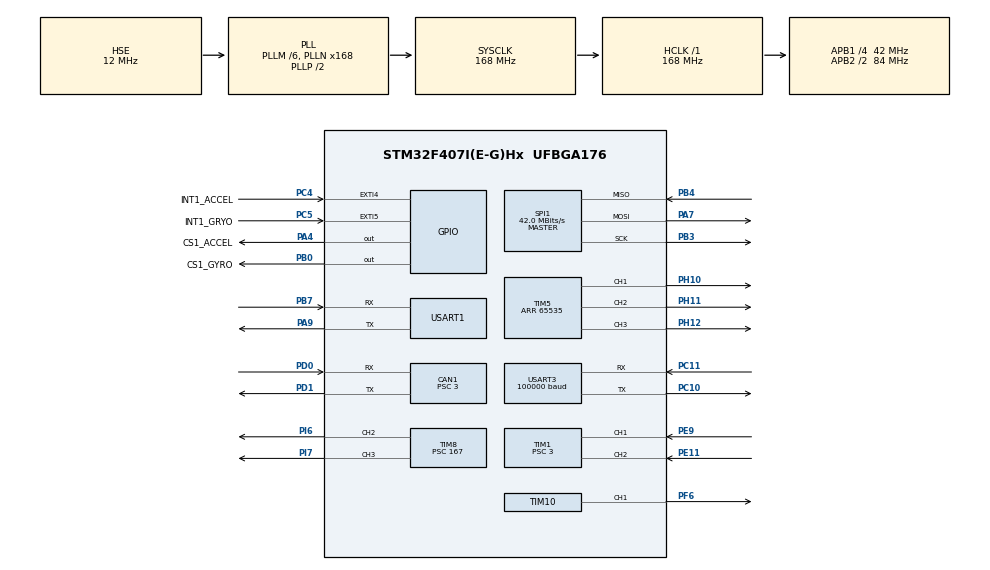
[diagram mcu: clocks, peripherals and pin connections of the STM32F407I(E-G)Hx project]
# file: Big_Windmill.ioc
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CAN1.BS1=CAN_BS1_10TQ
CAN1.BS2=CAN_BS2_3TQ
CAN1.CalculateBaudRate=1000000
CAN1.CalculateTimeBit=1000
CAN1.CalculateTimeQuantum=71.42857142857143
CAN1.Prescaler=3
Dma.Request0=USART1_TX
Dma.Request1=USART3_RX
Dma.Request2=SPI1_RX
Dma.Request3=SPI1_TX
Dma.SPI1_RX.2.Direction=DMA_PERIPH_TO_MEMORY
Dma.SPI1_RX.2.FIFOMode=DMA_FIFOMODE_DISABLE
Dma.SPI1_RX.2.Instance=DMA2_Stream0
Dma.SPI1_RX.2.MemDataAlignment=DMA_MDATAALIGN_BYTE
Dma.SPI1_RX.2.MemInc=DMA_MINC_ENABLE
Dma.SPI1_RX.2.Mode=DMA_NORMAL
Dma.SPI1_RX.2.PeriphDataAlignment=DMA_PDATAALIGN_BYTE
Dma.SPI1_RX.2.PeriphInc=DMA_PINC_DISABLE
Dma.SPI1_RX.2.Priority=DMA_PRIORITY_VERY_HIGH
Dma.SPI1_TX.3.Direction=DMA_MEMORY_TO_PERIPH
Dma.SPI1_TX.3.FIFOMode=DMA_FIFOMODE_DISABLE
Dma.SPI1_TX.3.Instance=DMA2_Stream3
Dma.SPI1_TX.3.MemDataAlignment=DMA_MDATAALIGN_BYTE
Dma.SPI1_TX.3.MemInc=DMA_MINC_ENABLE
Dma.SPI1_TX.3.Mode=DMA_NORMAL
Dma.SPI1_TX.3.PeriphDataAlignment=DMA_PDATAALIGN_BYTE
Dma.SPI1_TX.3.PeriphInc=DMA_PINC_DISABLE
Dma.SPI1_TX.3.Priority=DMA_PRIORITY_HIGH
Dma.USART1_TX.0.Direction=DMA_MEMORY_TO_PERIPH
Dma.USART1_TX.0.FIFOMode=DMA_FIFOMODE_DISABLE
Dma.USART1_TX.0.Instance=DMA2_Stream7
Dma.USART1_TX.0.MemDataAlignment=DMA_MDATAALIGN_BYTE
Dma.USART1_TX.0.MemInc=DMA_MINC_ENABLE
Dma.USART1_TX.0.Mode=DMA_NORMAL
Dma.USART1_TX.0.PeriphDataAlignment=DMA_PDATAALIGN_BYTE
Dma.USART1_TX.0.PeriphInc=DMA_PINC_DISABLE
Dma.USART1_TX.0.Priority=DMA_PRIORITY_VERY_HIGH
Dma.USART3_RX.1.Direction=DMA_PERIPH_TO_MEMORY
Dma.USART3_RX.1.FIFOMode=DMA_FIFOMODE_DISABLE
Dma.USART3_RX.1.Instance=DMA1_Stream1
Dma.USART3_RX.1.MemDataAlignment=DMA_MDATAALIGN_BYTE
Dma.USART3_RX.1.MemInc=DMA_MINC_ENABLE
Dma.USART3_RX.1.Mode=DMA_CIRCULAR
Dma.USART3_RX.1.PeriphDataAlignment=DMA_PDATAALIGN_BYTE
Dma.USART3_RX.1.PeriphInc=DMA_PINC_DISABLE
Dma.USART3_RX.1.Priority=DMA_PRIORITY_VERY_HIGH
Mcu.Family=STM32F4
Mcu.Name=STM32F407I(E-G)Hx
Mcu.Package=UFBGA176
NVIC.CAN1_RX0_IRQn=true\:0\:0\:false\:false\:true\:true\:true\:true
NVIC.DMA1_Stream1_IRQn=true\:0\:0\:false\:false\:true\:false\:true\:true
NVIC.DMA2_Stream0_IRQn=true\:0\:0\:false\:false\:true\:false\:true\:true
NVIC.DMA2_Stream3_IRQn=true\:0\:0\:false\:false\:true\:false\:true\:true
NVIC.DMA2_Stream7_IRQn=true\:0\:0\:false\:false\:true\:false\:true\:true
NVIC.PriorityGroup=NVIC_PRIORITYGROUP_4
NVIC.TIM4_IRQn=true\:0\:0\:false\:false\:true\:true\:true\:true
PA13.Mode=Serial_Wire
PA13.Signal=SYS_JTMS-SWDIO
PA14.Mode=Serial_Wire
PA14.Signal=SYS_JTCK-SWCLK
PA4.GPIO_Label=CS1_ACCEL
PA4.GPIO_PuPd=GPIO_PULLUP
PA4.GPIO_Speed=GPIO_SPEED_FREQ_HIGH
PA4.PinState=GPIO_PIN_SET
PA4.Signal=GPIO_Output
PA7.Mode=Full_Duplex_Master
PA7.Signal=SPI1_MOSI
PA9.Mode=Asynchronous
PA9.Signal=USART1_TX
PB0.GPIO_Label=CS1_GYRO
PB0.GPIO_Speed=GPIO_SPEED_FREQ_HIGH
PB0.PinState=GPIO_PIN_SET
PB0.Signal=GPIO_Output
PB3.Mode=Full_Duplex_Master
PB3.Signal=SPI1_SCK
PB4.Mode=Full_Duplex_Master
PB4.Signal=SPI1_MISO
PB7.Mode=Asynchronous
PB7.Signal=USART1_RX
PC10.Mode=Asynchronous
PC10.Signal=USART3_TX
PC11.Mode=Asynchronous
PC11.Signal=USART3_RX
PC4.GPIO_Label=INT1_ACCEL
PC4.GPIO_PuPd=GPIO_PULLUP
PC4.Signal=GPXTI4
PC5.GPIO_Label=INT1_GRYO
PC5.GPIO_PuPd=GPIO_PULLUP
PC5.Signal=GPXTI5
PD0.Mode=CAN_Activate
PD0.Signal=CAN1_RX
PD1.Mode=CAN_Activate
PD1.Signal=CAN1_TX
PE11.Signal=S_TIM1_CH2
PE9.Signal=S_TIM1_CH1
PF6.GPIO_PuPd=GPIO_PULLUP
PF6.GPIO_Speed=GPIO_SPEED_FREQ_HIGH
PF6.Signal=S_TIM10_CH1
PH0-OSC_IN.Mode=HSE-External-Oscillator
PH0-OSC_IN.Signal=RCC_OSC_IN
PH1-OSC_OUT.Mode=HSE-External-Oscillator
PH1-OSC_OUT.Signal=RCC_OSC_OUT
PH10.Signal=S_TIM5_CH1
PH11.Signal=S_TIM5_CH2
PH12.Signal=S_TIM5_CH3
PI6.Signal=S_TIM8_CH2
PI7.Signal=S_TIM8_CH3
ProjectManager.HeapSize=0x200
ProjectManager.StackSize=0x400
ProjectManager.TargetToolchain=Makefile
RCC.48MHZClocksFreq_Value=84000000
RCC.AHBFreq_Value=168000000
RCC.APB1CLKDivider=RCC_HCLK_DIV4
RCC.APB1Freq_Value=42000000
RCC.APB1TimFreq_Value=84000000
RCC.APB2CLKDivider=RCC_HCLK_DIV2
RCC.APB2Freq_Value=84000000
RCC.APB2TimFreq_Value=168000000
RCC.CortexFreq_Value=168000000
RCC.HCLKFreq_Value=168000000
RCC.HSE_VALUE=12000000
RCC.HSI_VALUE=16000000
RCC.LSE_VALUE=32768
RCC.PLLM=6
RCC.PLLN=168
RCC.PLLSourceVirtual=RCC_PLLSOURCE_HSE
RCC.SYSCLKFreq_VALUE=168000000
RCC.SYSCLKSource=RCC_SYSCLKSOURCE_PLLCLK
RCC.VCOOutputFreq_Value=336000000
SH.S_TIM10_CH1.0=TIM10_CH1,PWM Generation1 CH1
SH.S_TIM1_CH1.0=TIM1_CH1,Encoder_Interface
SH.S_TIM1_CH2.0=TIM1_CH2,Encoder_Interface
SH.S_TIM5_CH1.0=TIM5_CH1,PWM Generation1 CH1
SH.S_TIM5_CH2.0=TIM5_CH2,PWM Generation2 CH2
SH.S_TIM5_CH3.0=TIM5_CH3,PWM Generation3 CH3
SH.S_TIM8_CH2.0=TIM8_CH2,PWM Generation2 CH2
SH.S_TIM8_CH3.0=TIM8_CH3,PWM Generation3 CH3
SPI1.CalculateBaudRate=42.0 MBits/s
SPI1.Direction=SPI_DIRECTION_2LINES
SPI1.Mode=SPI_MODE_MASTER
SPI1.VirtualType=VM_MASTER
TIM1.AutoReloadPreload=TIM_AUTORELOAD_PRELOAD_DISABLE
TIM1.EncoderMode=TIM_ENCODERMODE_TI12
TIM1.IC1Filter=15
TIM1.IC2Filter=15
TIM1.Prescaler=3
TIM10.Channel=TIM_CHANNEL_1
TIM4.Period=50-1
TIM4.Prescaler=16800-1
TIM5.Channel-PWM\ Generation1\ CH1=TIM_CHANNEL_1
TIM5.Channel-PWM\ Generation2\ CH2=TIM_CHANNEL_2
TIM5.Channel-PWM\ Generation3\ CH3=TIM_CHANNEL_3
TIM5.Period=65535
TIM8.Channel-PWM\ Generation2\ CH2=TIM_CHANNEL_2
TIM8.Channel-PWM\ Generation3\ CH3=TIM_CHANNEL_3
TIM8.Period=19999
TIM8.Prescaler=167
TIM8.Pulse-PWM\ Generation2\ CH2=0
TIM8.Pulse-PWM\ Generation3\ CH3=0
USART1.VirtualMode=VM_ASYNC
USART3.BaudRate=100000
USART3.Parity=PARITY_EVEN
USART3.VirtualMode=VM_ASYNC
VP_TIM10_VS_ClockSourceINT.Mode=Enable_Timer
VP_TIM4_VS_ClockSourceINT.Mode=Internal
VP_TIM8_VS_ClockSourceINT.Mode=Internal
board=custom

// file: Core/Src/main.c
/* USER CODE BEGIN Header */
/**
  ******************************************************************************
  * @file           : main.c
  * @brief          : Main program body
  ******************************************************************************
  * @attention
  *
  * Copyright (c) 2023 STMicroelectronics.
  * All rights reserved.
  *
  * This software is licensed under terms that can be found in the LICENSE file
  * in the root directory of this software component.
  * If no LICENSE file comes with this software, it is provided AS-IS.
  *
  ******************************************************************************
  */
/* USER CODE END Header */
#include "main.h"
#include "can.h"
#include "dma.h"
#include "spi.h"
#include "tim.h"
#include "usart.h"
#include "gpio.h"

/* USER CODE BEGIN Includes */
#include "CAN_receive.h"
#include "pid.h"
#include <stdlib.h>
#include <math.h>
#include <stdbool.h>
#include "BMI088driver.h"
/* USER CODE END Includes */

/* USER CODE BEGIN PV */
RC_ctrl_t RC_ctrl;
uint8_t sbus_rx_buffer[18];
pid_type_def motor_pid;
const fp32 PID[3]={1.2,0,0.00001};
chassis_motor_t motor_chassis[4];

int mode_forward = 0;
int i = 0;

static int t = 0;
bool flag = true;
float sin1 = 0.0;
float motor_current = 0;

uint32_t motorCnt = 0;
bool motorDir = 0;
long motorSpeed = 0;
long pwmSpeed = 0;

	uint32_t tim8_ch2_set = 1499;
	uint32_t tim8_ch3_set = 1499;
	int tim8_ch3_out = 0;

fp32 gyro[3];
fp32 accel[3];
fp32 temp;

/* USER CODE END PV */

void SystemClock_Config(void);
/* USER CODE BEGIN PFP */
void can_filter_init(void);
/* USER CODE END PFP */

/* USER CODE BEGIN 0 */

typedef struct{
    uint32_t TX_ID;
    uint32_t RX_ID;
} TYPEDEF_CAN_IDs;

CAN_RxHeaderTypeDef CanRx;//接收消息报文信息
CAN_TxHeaderTypeDef CanTx;//发送消息报文信息
uint8_t RxData[8] = {0,0,0,0,0,0,0,0};  //接收数据区
uint8_t TxData[8] = {0,0,0,0,0,0,0,0};  //发送数据区
uint8_t Flag_Rx = 0;		//接收到数据的标志
uint32_t pTxMailbox = 0;	//发送邮箱盒子

HAL_StatusTypeDef Can_Config(TYPEDEF_CAN_IDs CAN_ID)
{

    CAN_FilterTypeDef sFilterConfig;

    CanTx.DLC = 8;				//数据长度
    CanTx.ExtId = 0x00;
    CanTx.IDE = CAN_ID_STD;		//标准帧模式
    CanTx.RTR = CAN_RTR_DATA;	//数据帧
    CanTx.StdId = CAN_ID.TX_ID;			//使用扩展帧时需置零
    CanTx.TransmitGlobalTime = DISABLE;//时间戳

    CanRx.DLC = 8;				//数据长度
    CanRx.ExtId = 0x00;
    CanRx.IDE = CAN_ID_STD;		//标准帧模式
    CanRx.RTR = CAN_RTR_DATA;	//数据帧
    CanRx.StdId = CAN_ID.RX_ID;			//使用扩展帧时需置零
    //CanRx.TransmitGlobalTime = DISABLE;//时间戳

    sFilterConfig.FilterActivation = CAN_FILTER_ENABLE;	//筛选器使能
    sFilterConfig.FilterBank = 0;						//筛选器0
    sFilterConfig.FilterFIFOAssignment = CAN_FILTER_FIFO0;//指定将分配给过滤器的FIFO(0或1U)

//    sFilterConfig.FilterIdHigh = (((CanRx.ExtId<<3) | CAN_ID_EXT | CAN_RTR_DATA)&0xFFFF0000)>>16;	//ID的高16位
//    sFilterConfig.FilterIdLow = ((CanRx.ExtId<<3) | CAN_ID_EXT | CAN_RTR_DATA) & 0xFFFF;	//ID的低16位，只接收扩展帧模式、数据帧
//    sFilterConfig.FilterMaskIdHigh = 0xFFFF;//FilterMask高低字节数据中位为1时代表必须与ID该位一致，0xFFFFFFFF代表接收筛选必须与ID一致才通过
//    sFilterConfig.FilterMaskIdLow = 0xFFFF;

    sFilterConfig.FilterIdHigh   =(((uint32_t)CanRx.StdId<<21)&0xffff0000)>>16;
    sFilterConfig.FilterIdLow  = (((uint32_t)CanRx.StdId<<21)|CAN_ID_STD|CAN_RTR_DATA)&0xffff;
    sFilterConfig.FilterMaskIdHigh  = 0xFFFF;
    sFilterConfig.FilterMaskIdLow   = 0xFFFF;

//不设过滤器
//    sFilterConfig.FilterIdHigh   = 0x0;
//    sFilterConfig.FilterIdLow    = 0x0;
//    sFilterConfig.FilterMaskIdHigh  = 0x0;
//    sFilterConfig.FilterMaskIdLow   = 0x0;

    sFilterConfig.FilterMode = CAN_FILTERMODE_IDMASK;//掩码模式
    sFilterConfig.FilterScale = CAN_FILTERSCALE_32BIT;//32位
    sFilterConfig.SlaveStartFilterBank = 0;

    if(HAL_CAN_ConfigFilter(&hcan1, &sFilterConfig) != HAL_OK)
    {
        return HAL_ERROR;
    }

    if(HAL_CAN_Start(&hcan1) != HAL_OK) //启动CAN
    {
        return HAL_ERROR;
    }

    if(HAL_CAN_ActivateNotification(&hcan1,CAN_IT_RX_FIFO0_MSG_PENDING) != HAL_OK)//激活CAN_IT_RX_FIFO0_MSG_PENDING中断
    {
        return HAL_ERROR;
    }

    return HAL_OK;
}

void HAL_CAN_RxFifo0MsgPendingCallback(CAN_HandleTypeDef *hcan)//报文接收中断
{
    if(HAL_CAN_GetRxMessage(hcan, CAN_FILTER_FIFO0, &CanRx, RxData) == HAL_OK)
    {
        Flag_Rx = 1;
    }

}

void HAL_CAN_RxFifo0FullCallback(CAN_HandleTypeDef *hcan)//当接收的Fifo0满了的时候产生该中断
{
    (void)hcan;
}

int map(float val, float I_Min, float I_Max, float O_Min, float O_Max) //映射函数
{
    return (int)((((val-I_Min)*((O_Max-O_Min)/(I_Max-I_Min)))+O_Min));
}

TYPEDEF_CAN_IDs Switch_Canid(void)   //开关检测
{
    TYPEDEF_CAN_IDs keys_canid;
    keys_canid.TX_ID = 0;
    keys_canid.RX_ID = 0;

        keys_canid.TX_ID = 0x111;
        keys_canid.RX_ID = 0x112;

    return keys_canid;
}

void countMotorSpeed()
{
		// 编码器轮询
		motorDir = __HAL_TIM_IS_TIM_COUNTING_DOWN(&htim1);
		motorCnt = (uint32_t)(__HAL_TIM_GET_COUNTER(&htim1));//获取定时器的值
		__HAL_TIM_SET_COUNTER(&htim1, 0);	// 置零
		if (motorDir == 0) motorSpeed = (long)(motorCnt);
	  else if (motorCnt == 0) motorSpeed = 0;
		else motorSpeed = -(long)(65535 - motorCnt);

		pwmSpeed = map(motorSpeed, -88, 88, -750, 750);

}

void HAL_TIM_PeriodElapsedCallback(TIM_HandleTypeDef *htim)
{
    if(htim == &htim4)
    {
      //500ms trigger
			t ++;
			countMotorSpeed();
    }
}

/* USER CODE END 0 */

int main(void)
{

  /* MCU Configuration--------------------------------------------------------*/

  /* Reset of all peripherals, Initializes the Flash interface and the Systick. */
  HAL_Init();

  /* Configure the system clock */
  SystemClock_Config();

  /* Initialize all configured peripherals */
  MX_GPIO_Init();
  MX_DMA_Init();
  MX_CAN1_Init();
  MX_USART1_UART_Init();
  MX_USART3_UART_Init();
  MX_TIM5_Init();
  MX_TIM8_Init();
  MX_TIM1_Init();
  MX_TIM4_Init();
  MX_SPI1_Init();
  MX_TIM10_Init();
  /* USER CODE BEGIN 2 */

    // BMI088初始化，尝试多次以应对SPI通信不稳定
//        int retry = 2;
//        while (retry--) {
//            if (BMI088_init() == 0) { // 假设返回0表示初始化成功
//                break;
//            }
//            HAL_Delay(10);
//        }
//        if (retry < 0) {
//            Error_Handler(); // 初始化失败处理
//        }

    BMI088_init();

    // 初始化pid
	PID_init(&motor_pid,PID_POSITION,PID,755,755);
	//motor_pid.derivative_output_filter_coefficient = 0.99995;
	//motor_pid.proportion_output_filter_coefficient = 0.99004;
	motor_pid.out=0;

	// 定时器1 编码器模式ch1A ch2B
	//HAL_TIM_Base_Start_IT(&htim1);
	HAL_TIM_Encoder_Start(&htim1, TIM_CHANNEL_ALL);

	// 定时器4中断
	HAL_TIM_Base_Start_IT(&htim4);

	can_filter_init();
	HAL_UART_Receive_DMA(&huart3,sbus_rx_buffer,18);

	// 蜂鸣器
		//HAL_TIM_Base_Start_IT(&htim4);
	//HAL_TIM_PWM_Start(&htim4, TIM_CHANNEL_3);

	// 三色led灯
		//HAL_TIM_Base_Start_IT(&htim5);
	HAL_TIM_PWM_Start(&htim5, TIM_CHANNEL_1);
	HAL_TIM_PWM_Start(&htim5, TIM_CHANNEL_2);
	HAL_TIM_PWM_Start(&htim5, TIM_CHANNEL_3);

	// 舵机ch7 ch8	0 ~ 1999 500 ~ 2500
		//HAL_TIM_Base_Start_IT(&htim8);
	HAL_TIM_PWM_Start(&htim8, TIM_CHANNEL_2);	// ch7
	HAL_TIM_PWM_Start(&htim8, TIM_CHANNEL_3);	// ch8

	Can_Config(Switch_Canid()); //引入canid并初始化结构体

	float psc_tim8_max = 19999.0;
    (void)psc_tim8_max;

  uint16_t interval_time = 8; //调节连续发包频率的间隔时间

	// 双通道电机舵机回中
	__HAL_TIM_SetCompare(&htim8, TIM_CHANNEL_2, 0);
	__HAL_TIM_SetCompare(&htim8, TIM_CHANNEL_3, 0);
	HAL_Delay(100);

	__HAL_TIM_SetCompare(&htim8, TIM_CHANNEL_2, 1499);
	__HAL_TIM_SetCompare(&htim8, TIM_CHANNEL_3, 1499);
	HAL_Delay(3000);

	__HAL_TIM_SetCompare(&htim8, TIM_CHANNEL_2, 0);
	__HAL_TIM_SetCompare(&htim8, TIM_CHANNEL_3, 0);
	HAL_Delay(1000);
	__HAL_TIM_SetCompare(&htim8, TIM_CHANNEL_2, 1499);
	__HAL_TIM_SetCompare(&htim8, TIM_CHANNEL_3, 1499);

  /* USER CODE END 2 */

  /* Infinite loop */
  while (1)
  {

    /* USER CODE BEGIN 3 */

        BMI088_read(gyro, accel, &temp); // 读取陀螺仪 加速度 温度

		HAL_CAN_GetRxMessage(&hcan1,CAN_RX_FIFO0,&CanRx,RxData);   //试图收包

      if(Flag_Rx)
      {
				// 亮灯
		__HAL_TIM_SetCompare(&htim5, TIM_CHANNEL_1, 50000);
		__HAL_TIM_SetCompare(&htim5, TIM_CHANNEL_2, 50000);
		__HAL_TIM_SetCompare(&htim5, TIM_CHANNEL_3, 50000);

				tim8_ch2_set = (int)RxData[0]*(16*16) + (int)RxData[1];
				// tim8_ch2_set = 0x13*16*16 +0x88;
				tim8_ch3_set = (int)RxData[2]*(16*16) + (int)RxData[3];

          for(size_t i = 0; i < sizeof TxData; i++) {
              TxData[i] = RxData[i];
          }

                  Flag_Rx = 0;

      }

			__HAL_TIM_SetCompare(&htim8, TIM_CHANNEL_2, tim8_ch2_set);

			tim8_ch3_out = PID_calc(&motor_pid, pwmSpeed + 1499, tim8_ch3_set);
      __HAL_TIM_SetCompare(&htim8, TIM_CHANNEL_3, tim8_ch3_out + 1500);

			//__HAL_TIM_SetCompare(&htim8, TIM_CHANNEL_3, tim8_ch3_set);

      HAL_CAN_AddTxMessage(&hcan1, &CanTx, TxData, &pTxMailbox); // 发包

      HAL_Delay(interval_time); // 调节发包频率

      HAL_Delay(10);  // 延时10ms

			// 暗灯
		__HAL_TIM_SetCompare(&htim5, TIM_CHANNEL_1, 0);
		__HAL_TIM_SetCompare(&htim5, TIM_CHANNEL_2, 0);
		__HAL_TIM_SetCompare(&htim5, TIM_CHANNEL_3, 0);

  }
  /* USER CODE END 3 */
}

void SystemClock_Config(void)
{
  RCC_OscInitTypeDef RCC_OscInitStruct = {0};
  RCC_ClkInitTypeDef RCC_ClkInitStruct = {0};

  /** Configure the main internal regulator output voltage
  */
  __HAL_RCC_PWR_CLK_ENABLE();
  __HAL_PWR_VOLTAGESCALING_CONFIG(PWR_REGULATOR_VOLTAGE_SCALE1);

  /** Initializes the RCC Oscillators according to the specified parameters
  * in the RCC_OscInitTypeDef structure.
  */
  RCC_OscInitStruct.OscillatorType = RCC_OSCILLATORTYPE_HSE;
  RCC_OscInitStruct.HSEState = RCC_HSE_ON;
  RCC_OscInitStruct.PLL.PLLState = RCC_PLL_ON;
  RCC_OscInitStruct.PLL.PLLSource = RCC_PLLSOURCE_HSE;
  RCC_OscInitStruct.PLL.PLLM = 6;
  RCC_OscInitStruct.PLL.PLLN = 168;
  RCC_OscInitStruct.PLL.PLLP = RCC_PLLP_DIV2;
  RCC_OscInitStruct.PLL.PLLQ = 4;
  if (HAL_RCC_OscConfig(&RCC_OscInitStruct) != HAL_OK)
  {
    Error_Handler();
  }

  /** Initializes the CPU, AHB and APB buses clocks
  */
  RCC_ClkInitStruct.ClockType = RCC_CLOCKTYPE_HCLK|RCC_CLOCKTYPE_SYSCLK
                              |RCC_CLOCKTYPE_PCLK1|RCC_CLOCKTYPE_PCLK2;
  RCC_ClkInitStruct.SYSCLKSource = RCC_SYSCLKSOURCE_PLLCLK;
  RCC_ClkInitStruct.AHBCLKDivider = RCC_SYSCLK_DIV1;
  RCC_ClkInitStruct.APB1CLKDivider = RCC_HCLK_DIV4;
  RCC_ClkInitStruct.APB2CLKDivider = RCC_HCLK_DIV2;

  if (HAL_RCC_ClockConfig(&RCC_ClkInitStruct, FLASH_LATENCY_5) != HAL_OK)
  {
    Error_Handler();
  }
}

/* USER CODE BEGIN 4 */
void HAL_UART_RxCpltCallback(UART_HandleTypeDef *UartHandle)
{
    (void)UartHandle;

	  RC_ctrl.rc.ch[0] = (sbus_rx_buffer[0] | (sbus_rx_buffer[1] << 8)) & 0x07ff;        //!< Channel 0
    RC_ctrl.rc.ch[1] = ((sbus_rx_buffer[1] >> 3) | (sbus_rx_buffer[2] << 5)) & 0x07ff; //!< Channel 1
    RC_ctrl.rc.ch[2] = ((sbus_rx_buffer[2] >> 6) | (sbus_rx_buffer[3] << 2) |          //!< Channel 2
                         (sbus_rx_buffer[4] << 10)) &0x07ff;
    RC_ctrl.rc.ch[3] = ((sbus_rx_buffer[4] >> 1) | (sbus_rx_buffer[5] << 7)) & 0x07ff; //!< Channel 3
    RC_ctrl.rc.s[0] = ((sbus_rx_buffer[5] >> 4) & 0x0003);                  //!< Switch left
    RC_ctrl.rc.s[1] = ((sbus_rx_buffer[5] >> 4) & 0x000C) >> 2;                       //!< Switch right
    RC_ctrl.mouse.x = sbus_rx_buffer[6] | (sbus_rx_buffer[7] << 8);                    //!< Mouse X axis
    RC_ctrl.mouse.y = sbus_rx_buffer[8] | (sbus_rx_buffer[9] << 8);                    //!< Mouse Y axis
    RC_ctrl.mouse.z = sbus_rx_buffer[10] | (sbus_rx_buffer[11] << 8);                  //!< Mouse Z axis
    RC_ctrl.mouse.press_l = sbus_rx_buffer[12];                                  //!< Mouse Left Is Press ?
    RC_ctrl.mouse.press_r = sbus_rx_buffer[13];                                  //!< Mouse Right Is Press ?
    RC_ctrl.key.v = sbus_rx_buffer[14] | (sbus_rx_buffer[15] << 8);                    //!< KeyBoard value

		RC_ctrl.rc.ch[0] -=1024;
		RC_ctrl.rc.ch[1] -=1024;
		RC_ctrl.rc.ch[2] -=1024;
		RC_ctrl.rc.ch[3] -=1024;

		mode_forward=RC_ctrl.rc.ch[0];
}
/* USER CODE END 4 */

void Error_Handler(void)
{
  __disable_irq();
  while (1)
  {
  }
}
